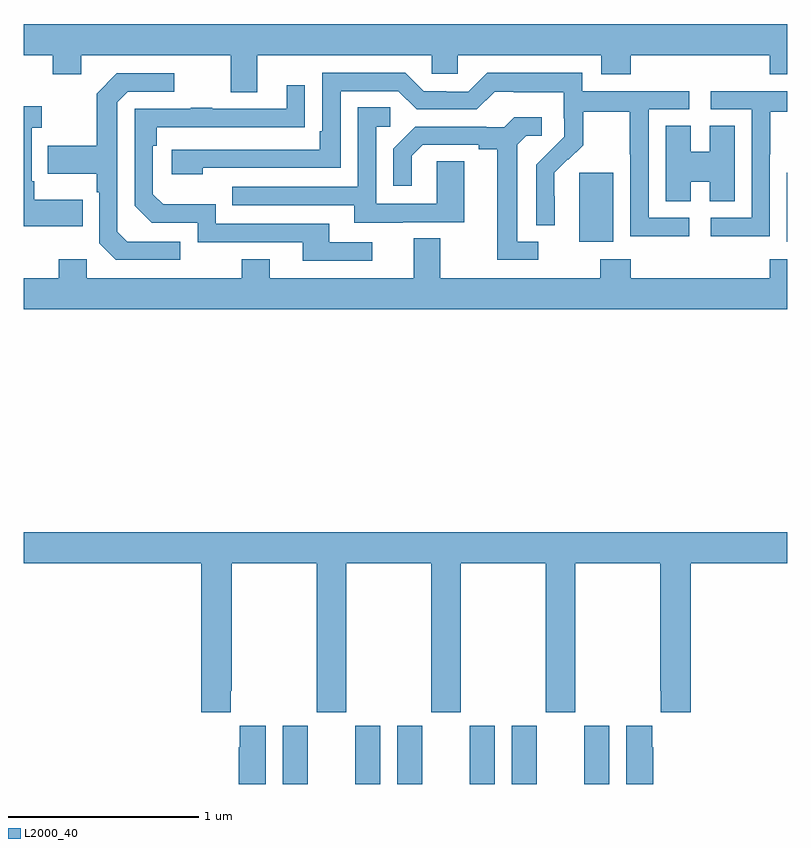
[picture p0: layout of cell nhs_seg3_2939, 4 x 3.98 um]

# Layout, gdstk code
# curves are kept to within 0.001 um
import gdstk
lib = gdstk.Library(unit=1e-6, precision=1e-09)
def R(c, l, rs):  # rectangles x0, y0, x1, y1
    for r in rs: c.add(gdstk.rectangle(r[:2], r[2:], *l))
def P(c, l, *ps):  # polygons
    for p in ps: c.add(gdstk.Polygon(p, *l))
L2000_40 = (2000, 40)

nhs_seg3_2939 = lib.new_cell('nhs_seg3_2939')
R(nhs_seg3_2939, L2000_40, [(264.356,726.4,264.487,726.706), (264.737,726.4,264.868,726.706), (264.956,726.4,265.087,726.706), (265.337,726.4,265.468,726.706), (265.556,726.4,265.687,726.706), (265.937,726.4,266.068,726.706), (265.91,729.242,266.089,729.603), (266.999,729.242,267,729.603)])
P(nhs_seg3_2939, L2000_40, [(264.223,730.22),(265.137,730.22),(265.137,730.122),(265.275,730.122),(265.275,730.22),(266.027,730.22),(266.027,730.121),(266.18,730.121),(266.18,730.22),(266.909,730.22),(266.909,730.121),(267,730.121),(267,730.384),(263,730.384),(263,730.22),(263.152,730.22),(263.152,730.121),(263.299,730.121),(263.299,730.22),(264.083,730.22),(264.083,730.026),(264.223,730.026)],
  [(266.488,729.369),(266.274,729.369),(266.274,729.936),(266.488,729.936),(266.488,730.032),(265.926,730.032),(265.926,730.129),(265.429,730.129),(265.329,730.029),(265.214,730.029),(265.214,730.032),(265.095,730.032),(264.999,730.128),(264.564,730.128),(264.564,729.823),(264.551,729.823),(264.551,729.726),(263.775,729.726),(263.775,729.596),(263.936,729.596),(263.936,729.63),(264.66,729.63),(264.66,730.032),(264.963,730.032),(265.059,729.936),(265.374,729.936),(265.467,730.029),(265.567,730.029),(265.567,730.025),(265.83,730.025),(265.83,729.891),(265.832,729.891),(265.832,729.794),(265.686,729.646),(265.686,729.328),(265.782,729.328),(265.781,729.605),(265.851,729.675),(265.854,729.672),(265.931,729.749),(265.931,729.924),(266.176,729.924),(266.176,729.7),(266.178,729.7),(266.178,729.271),(266.488,729.271)],
  [(263.818,729.243),(263.541,729.243),(263.49,729.294),(263.49,729.975),(263.544,730.029),(263.788,730.029),(263.788,730.125),(263.487,730.125),(263.382,730.019),(263.382,729.747),(263.125,729.747),(263.125,729.599),(263.382,729.599),(263.382,729.503),(263.394,729.503),(263.394,729.234),(263.481,729.147),(263.818,729.147)],
  [(264.826,729.24),(264.601,729.24),(264.601,729.336),(264.006,729.336),(264.006,729.439),(263.729,729.439),(263.676,729.492),(263.676,729.746),(263.696,729.746),(263.696,729.843),(264.473,729.844),(264.473,730.063),(264.377,730.063),(264.377,729.939),(263.987,729.939),(263.987,729.944),(263.875,729.944),(263.875,729.939),(263.58,729.939),(263.58,729.432),(263.67,729.342),(263.91,729.342),(263.91,729.24),(264.461,729.24),(264.461,729.144),(264.826,729.144)],
  [(266.91,729.7),(266.913,729.7),(266.913,729.924),(267,729.924),(267,730.032),(266.601,730.032),(266.601,729.936),(266.814,729.936),(266.814,729.369),(266.601,729.369),(266.601,729.271),(266.91,729.271)],
  [(263.309,729.463),(263.053,729.463),(263.053,729.559),(263.04,729.559),(263.04,729.839),(263.092,729.839),(263.092,729.952),(263,729.952),(263,729.323),(263.309,729.323)],
  [(264.985,729.345),(265.309,729.345),(265.309,729.665),(265.164,729.665),(265.164,729.441),(264.846,729.441),(264.846,729.846),(264.919,729.846),(264.919,729.947),(264.75,729.947),(264.75,729.531),(264.091,729.531),(264.091,729.435),(264.731,729.435),(264.731,729.341),(264.985,729.341)],
  [(265.696,729.243),(265.585,729.243),(265.585,729.751),(265.632,729.798),(265.714,729.798),(265.714,729.895),(265.57,729.895),(265.518,729.843),(265.424,729.843),(265.424,729.846),(265.052,729.846),(264.936,729.73),(264.936,729.537),(265.033,729.537),(265.033,729.693),(265.09,729.75),(265.385,729.75),(265.385,729.728),(265.481,729.728),(265.481,729.147),(265.696,729.147)],
  [(266.494,729.557),(266.594,729.557),(266.594,729.454),(266.725,729.454),(266.725,729.851),(266.594,729.851),(266.594,729.715),(266.494,729.715),(266.494,729.851),(266.363,729.851),(266.363,729.454),(266.494,729.454)],
  [(267,729.151),(266.909,729.151),(266.909,729.052),(266.18,729.052),(266.18,729.151),(266.02,729.151),(266.02,729.052),(265.183,729.052),(265.183,729.26),(265.043,729.26),(265.043,729.052),(264.289,729.052),(264.289,729.151),(264.142,729.151),(264.142,729.052),(263.328,729.052),(263.328,729.151),(263.182,729.151),(263.182,729.052),(263,729.052),(263,728.888),(267,728.888)],
  [(264.085,726.889),(264.09,726.889),(264.09,727.556),(264.535,727.556),(264.535,726.777),(264.69,726.777),(264.69,727.556),(265.135,727.556),(265.135,726.777),(265.29,726.777),(265.29,727.556),(265.735,727.556),(265.735,726.777),(265.89,726.777),(265.89,727.556),(266.335,727.556),(266.335,726.889),(266.339,726.889),(266.339,726.777),(266.495,726.777),(266.495,727.556),(267,727.556),(267,727.72),(263,727.72),(263,727.556),(263.93,727.556),(263.93,726.777),(264.085,726.777)],
  [(266.3,726.593),(266.293,726.593),(266.293,726.706),(266.156,726.706),(266.156,726.4),(266.3,726.4)],
  [(264.268,726.706),(264.131,726.706),(264.131,726.593),(264.125,726.593),(264.125,726.4),(264.268,726.4)])

lib.write_gds('nhs_seg3_2939.gds')
